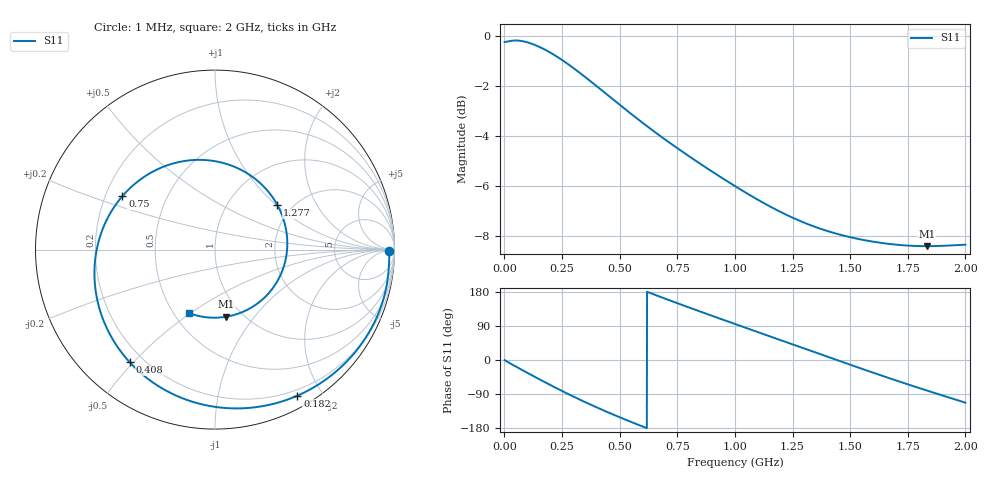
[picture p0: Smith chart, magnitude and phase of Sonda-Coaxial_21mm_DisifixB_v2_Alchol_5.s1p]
! TOUCHSTONE file generated by CST MICROWAVE STUDIO
! Date and time: Sat Aug  1 23:57:48 2026
! Project name: Sonda-Coaxial_21mm_DisifixB_v2_Alchol.cst
! Parameters = {h_recipiente=20; l_conector=50; r_arandela=35; r_ext=10.5; r_int=3; r_recipiente=100; z_recipiente=-100}
! Header version: 2018
! Port assignment regex: !\s*Touchstone port\s*([0-9]+)\s*=\s*(CST MWS port|CST DS port)\s*([0-9]+|Zmin|Zmax)\s*\(\"(.*)\"\)(\s*mode\s*([0-9]+))?.*
! Touchstone port assignment:
! Touchstone port 1 = CST MWS port 1 ("")
# GHz S RI R 50
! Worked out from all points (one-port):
!   2000 points, 1 MHz to 2 GHz, reference 50 ohm
!   lowest |S11| = -8.4 dB at 1.832 GHz (marker M1), VSWR 2.22, Z = 42.1 - j36.8 ohm
!   |S11| at or under -10 dB: nowhere
!   S11 on the Smith chart (normalised r, x): 1 MHz: 66, -14; 182 MHz: 0.13, -1.71; 408 MHz: 0.15, -0.49; 750 MHz: 0.27, +0.25; 1.277 GHz: 1.68, +1.02; 2 GHz: 0.59, -0.49
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0.001  0.9714 -0.00619
0.042  0.9459 -0.2483
0.082  0.8601 -0.4577
0.134  0.6759 -0.6781
0.182  0.4595 -0.8137
0.216  0.2942 -0.8666
0.251  0.1239 -0.8849
0.322  -0.1915 -0.8242
0.366  -0.3521 -0.736
0.408  -0.4748 -0.628
0.454  -0.5736 -0.4935
0.501  -0.6378 -0.3485
0.556  -0.6701 -0.1799
0.615  -0.661 -0.0104
0.679  -0.6099 0.1518
0.75  -0.5155 0.2984
0.751  -0.514 0.3002
0.875  -0.2908 0.4603
1.001  -0.0425 0.4981
1.116  0.1586 0.4372
1.251  0.3262 0.2837
1.277  0.348 0.2475
1.388  0.4002 0.0817
1.501  0.3856 -0.0867
1.632  0.294 -0.2488
1.751  0.1641 -0.343
1.832  0.0634 -0.3739
2  -0.1468 -0.3525
